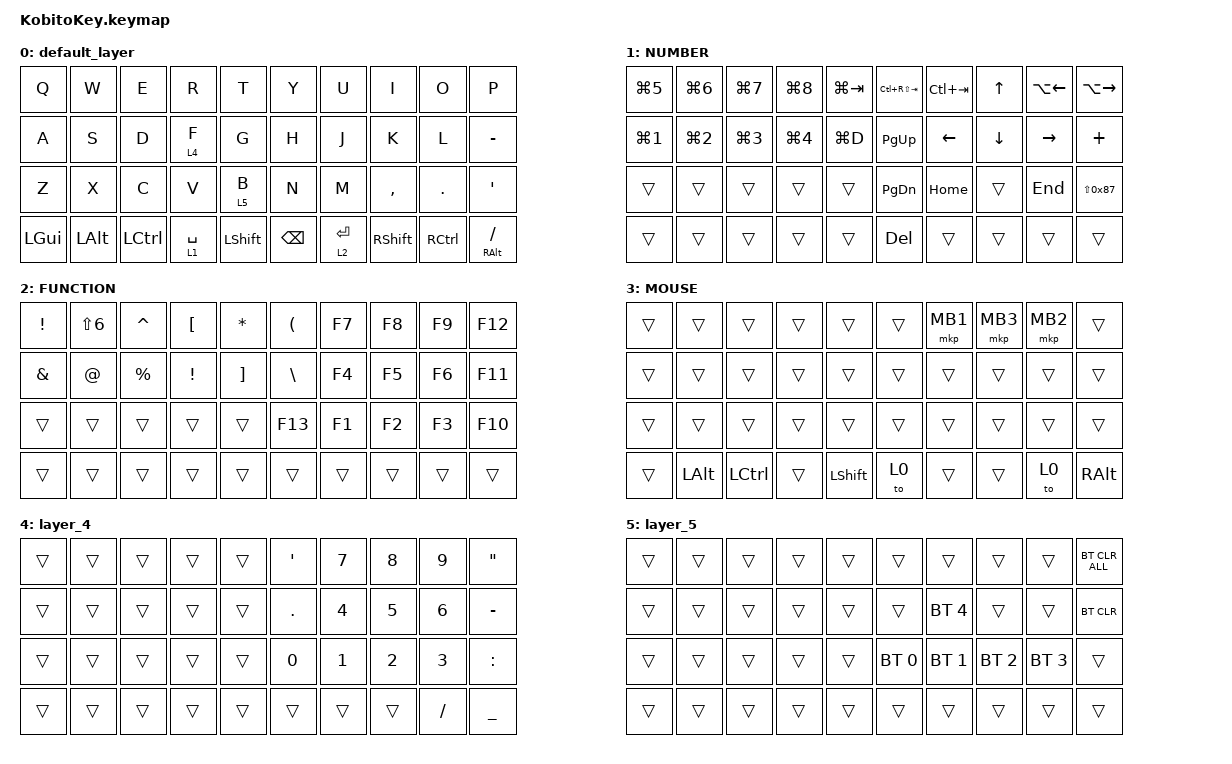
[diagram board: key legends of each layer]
#include <input/processors.dtsi>
#include <behaviors.dtsi>
#include <dt-bindings/zmk/bt.h>
#include <dt-bindings/zmk/keys.h>
#include <dt-bindings/zmk/pointing.h>

// OS設定を日本語キーボードのまま使用するための変換定義

#define JP_DQUOTE       AT                // "
#define JP_AMPERSAND    CARET             // &
#define JP_QUOTE        AMPERSAND         // '
#define JP_EQUAL        UNDER             // =
#define JP_CARET        EQUAL             // ^
#define JP_YEN          0x89              // ¥
#define JP_PLUS         COLON             // +
#define JP_TILDE        PLUS              // ~
#define JP_PIPE         LS(0x89)          // |
#define JP_AT           LEFT_BRACKET      // @
#define JP_COLON        SINGLE_QUOTE      // :
#define JP_ASTERISK     DOUBLE_QUOTES     // *
#define JP_BACKQUOTE    LEFT_BRACE        // `
#define JP_UNDERSCORE   LS(0x87)          // _
#define JP_LBRACKET     RIGHT_BRACKET     // [
#define JP_RBRACKET     BACKSLASH         // ]
#define JP_LPAREN       ASTERISK          // (
#define JP_RPAREN       LEFT_PARENTHESIS  // )
#define JP_LBRACE       RIGHT_BRACE       // {
#define JP_RBRACE       PIPE              // }
#define JP_KANA         LANGUAGE_1        // かな
#define JP_EISU         LANGUAGE_2        // 英数
#define JP_HANZEN       GRAVE             // 半角/全角

/ {
    combos {
        compatible = "zmk,combos";

        combo_eisu {
            timeout-ms = <50>;
            key-positions = <12 13>;
            bindings = <&kp LANG2>;
        };

        combo_kana {
            timeout-ms = <50>;
            key-positions = <16 17>;
            bindings = <&kp LANG1>;
        };

        combo_esc {
            timeout-ms = <50>;
            key-positions = <0 1>;
            bindings = <&kp ESC>;
        };

        combo_tab {
            timeout-ms = <50>;
            key-positions = <10 11>;
            bindings = <&kp TAB>;
        };

        combo_del {
            bindings = <&kp DEL>;
            key-positions = <8 9>;
        };

        combo_cut {
            bindings = <&kp LC(X)>;
            key-positions = <3 4>;
        };

        combo_copy {
            bindings = <&kp LC(C)>;
            key-positions = <13 14>;
        };

        combo_paste {
            bindings = <&kp LC(V)>;
            key-positions = <15 16>;
        };

        combo_pasta {
            bindings = <&kp LA(LC(V))>;
            key-positions = <5 6>;
        };

        combo_back {
            bindings = <&kp LC(Z)>;
            key-positions = <26 25>;
        };

        combo_scrshots {
            bindings = <&kp LG(LS(S))>;
            key-positions = <11 12>;
        };

        henkan {
            bindings = <&kp F13>;
            key-positions = <18 17>;
        };
    };

    macros {
        lefttab: lefttab {
            compatible = "zmk,behavior-macro";
            #binding-cells = <0>;
            bindings = <&kp LC(LS(TAB))>;
            label = "LEFTTAB";
        };

        righttab: righttab {
            compatible = "zmk,behavior-macro";
            #binding-cells = <0>;
            bindings = <&kp LC(TAB)>;
            label = "RIGHTTAB";
        };

        back: back {
            compatible = "zmk,behavior-macro";
            #binding-cells = <0>;
            bindings = <&kp LA(LEFT_ARROW)>;
            label = "BACK";
        };

        aware: aware {
            compatible = "zmk,behavior-macro";
            #binding-cells = <0>;
            bindings = <&kp LA(RIGHT_ARROW)>;
            label = "AWARE";
        };
    };

    keymap {
        compatible = "zmk,keymap";

        default_layer {
            bindings = <
&kp Q         &kp W         &kp E      &kp R        &kp T           &kp Y     &kp U        &kp I            &kp O      &kp P
&kp A         &kp S         &kp D      &lt 4 F      &kp G           &kp H     &kp J        &kp K            &kp L      &kp MINUS
&kp Z         &kp X         &kp C      &kp V        &lt 5 B         &kp N     &kp M        &kp COMMA        &kp DOT    &kp SINGLE_QUOTE
&kp LEFT_GUI  &kp LEFT_ALT  &kp LCTRL  &lt 1 SPACE  &kp LEFT_SHIFT  &kp BSPC  &lt 2 ENTER  &kp RIGHT_SHIFT  &kp RCTRL  &mt RIGHT_ALT SLASH
            >;
        };

        layer1 {
            label = "NUMBER";
            bindings = <
&kp LG(N5)        &kp LG(NUMBER_6)  &kp LG(N7)        &kp LG(N8)        &kp LG(TAB)  &kp LC(RS(TAB))  &kp LC(TAB)  &kp UP    &kp LA(LEFT_ARROW)  &kp LA(RIGHT_ARROW)
&kp LG(NUMBER_1)  &kp LG(NUMBER_2)  &kp LG(NUMBER_3)  &kp LG(NUMBER_4)  &kp LG(D)    &kp PAGE_UP      &kp LEFT     &kp DOWN  &kp RIGHT           &kp PLUS
&trans            &trans            &trans            &trans            &trans       &kp PAGE_DOWN    &kp HOME     &trans    &kp END             &kp JP_UNDERSCORE
&trans            &trans            &trans            &trans            &trans       &kp DEL          &trans       &trans    &trans              &trans
            >;
        };

        layer2 {
            label = "FUNCTION";
            bindings = <
&kp EXCLAMATION  &kp LS(NUMBER_6)  &kp CARET    &kp LEFT_BRACKET  &kp ASTRK          &kp LEFT_PARENTHESIS  &kp F7  &kp F8  &kp F9  &kp F12
&kp AMPERSAND    &kp AT            &kp PERCENT  &kp EXCL          &kp RIGHT_BRACKET  &kp BACKSLASH         &kp F4  &kp F5  &kp F6  &kp F11
&trans           &trans            &trans       &trans            &trans             &kp F13               &kp F1  &kp F2  &kp F3  &kp F10
&trans           &trans            &trans       &trans            &trans             &trans                &trans  &trans  &trans  &trans
            >;
        };

        layer3 {
            label = "MOUSE";
            bindings = <
&trans  &trans        &trans     &trans  &trans          &trans  &mkp MB1  &mkp MB3  &mkp MB2  &trans
&trans  &trans        &trans     &trans  &trans          &trans  &trans    &trans    &trans    &trans
&trans  &trans        &trans     &trans  &trans          &trans  &trans    &trans    &trans    &trans
&trans  &kp LEFT_ALT  &kp LCTRL  &trans  &kp LEFT_SHIFT  &to 0   &trans    &trans    &to 0     &kp RALT
            >;
        };

        layer_4 {
            bindings = <
&trans  &trans  &trans  &trans  &trans  &kp SINGLE_QUOTE  &kp N7        &kp N8        &kp N9        &kp DOUBLE_QUOTES
&trans  &trans  &trans  &trans  &trans  &kp PERIOD        &kp NUMBER_4  &kp N5        &kp NUMBER_6  &kp MINUS
&trans  &trans  &trans  &trans  &trans  &kp N0            &kp NUMBER_1  &kp NUMBER_2  &kp NUMBER_3  &kp COLON
&trans  &trans  &trans  &trans  &trans  &trans            &trans        &trans        &kp SLASH     &kp UNDER
            >;
        };

        layer_5 {
            bindings = <
&trans  &trans  &trans  &trans  &trans  &trans        &trans        &trans        &trans        &bt BT_CLR_ALL
&trans  &trans  &trans  &trans  &trans  &trans        &bt BT_SEL 4  &trans        &trans        &bt BT_CLR
&trans  &trans  &trans  &trans  &trans  &bt BT_SEL 0  &bt BT_SEL 1  &bt BT_SEL 2  &bt BT_SEL 3  &trans
&trans  &trans  &trans  &trans  &trans  &trans        &trans        &trans        &trans        &trans
            >;
        };
    };
};
